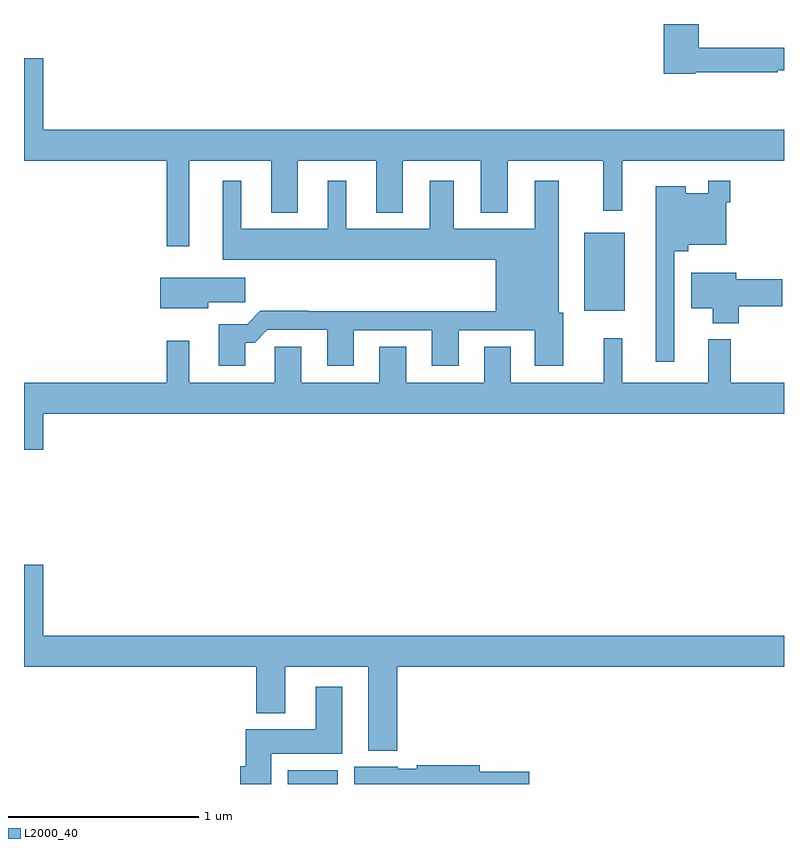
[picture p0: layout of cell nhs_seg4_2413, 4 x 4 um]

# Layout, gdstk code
import gdstk
lib = gdstk.Library(unit=1e-6, precision=1e-09)
def R(c, l, rs):  # rectangles x0, y0, x1, y1
    for r in rs: c.add(gdstk.rectangle(r[:2], r[2:], *l))
def P(c, l, *ps):  # polygons
    for p in ps: c.add(gdstk.Polygon(p, *l))
L2000_40 = (2000, 40)

nhs_seg4_2413 = lib.new_cell('nhs_seg4_2413')
R(nhs_seg4_2413, L2000_40, [(238.388,766.9,238.651,766.972), (239.948,769.391,240.163,769.801)])
P(nhs_seg4_2413, L2000_40, [(240.534,770.646),(240.968,770.646),(240.968,770.657),(241,770.657),(241,770.774),(240.551,770.774),(240.551,770.9),(240.368,770.9),(240.368,770.638),(240.534,770.638)],
  [(237.871,770.18),(238.301,770.18),(238.301,769.907),(238.441,769.907),(238.441,770.18),(238.853,770.18),(238.853,769.907),(238.993,769.907),(238.993,770.18),(239.405,770.18),(239.405,769.907),(239.545,769.907),(239.545,770.18),(240.049,770.18),(240.049,769.917),(240.148,769.917),(240.148,770.18),(241,770.18),(241,770.344),(237.1,770.344),(237.1,770.719),(237,770.719),(237,770.18),(237.75,770.18),(237.75,769.731),(237.871,769.731)],
  [(238.165,769.223),(238.214,769.223),(238.281,769.29),(238.595,769.29),(238.595,769.101),(238.735,769.101),(238.735,769.287),(239.147,769.287),(239.147,769.101),(239.287,769.101),(239.287,769.287),(239.687,769.287),(239.687,769.101),(239.839,769.101),(239.839,769.38),(239.815,769.38),(239.815,770.074),(239.687,770.074),(239.687,769.822),(239.263,769.822),(239.263,770.074),(239.135,770.074),(239.135,769.822),(238.696,769.822),(238.696,770.074),(238.598,770.074),(238.598,769.822),(238.144,769.822),(238.144,770.074),(238.046,770.074),(238.046,769.658),(239.483,769.658),(239.483,769.388),(238.499,769.388),(238.499,769.391),(238.244,769.391),(238.174,769.321),(238.025,769.321),(238.025,769.101),(238.165,769.101)],
  [(240.423,769.703),(240.497,769.703),(240.497,769.739),(240.696,769.739),(240.696,769.961),(240.716,769.961),(240.716,770.074),(240.6,770.074),(240.6,770.008),(240.484,770.008),(240.484,770.047),(240.326,770.047),(240.326,769.122),(240.423,769.122)],
  [(240.761,769.414),(240.991,769.414),(240.991,769.556),(240.748,769.556),(240.748,769.591),(240.512,769.591),(240.512,769.403),(240.626,769.403),(240.626,769.325),(240.761,769.325)],
  [(237.97,769.435),(238.165,769.435),(238.165,769.564),(237.716,769.564),(237.716,769.403),(237.97,769.403)],
  [(237.1,768.848),(241,768.848),(241,769.012),(240.719,769.012),(240.719,769.24),(240.602,769.24),(240.602,769.012),(240.149,769.012),(240.149,769.246),(240.05,769.246),(240.05,769.012),(239.563,769.012),(239.563,769.202),(239.423,769.202),(239.423,769.012),(239.011,769.012),(239.011,769.202),(238.871,769.202),(238.871,769.012),(238.459,769.012),(238.459,769.202),(238.32,769.202),(238.32,769.012),(237.871,769.012),(237.871,769.234),(237.75,769.234),(237.75,769.012),(237,769.012),(237,768.66),(237.1,768.66)],
  [(238.964,767.516),(241,767.516),(241,767.68),(237.1,767.68),(237.1,768.055),(237,768.055),(237,767.516),(238.223,767.516),(238.223,767.273),(238.375,767.273),(238.375,767.516),(238.811,767.516),(238.811,767.075),(238.964,767.075)],
  [(238.3,767.06),(238.675,767.06),(238.675,767.413),(238.535,767.413),(238.535,767.188),(238.166,767.188),(238.166,766.993),(238.139,766.993),(238.139,766.9),(238.3,766.9)],
  [(239.659,766.964),(239.398,766.964),(239.398,767),(239.068,767),(239.068,766.98),(238.968,766.98),(238.968,766.99),(238.739,766.99),(238.739,766.9),(239.659,766.9)])

lib.write_gds('nhs_seg4_2413.gds')
